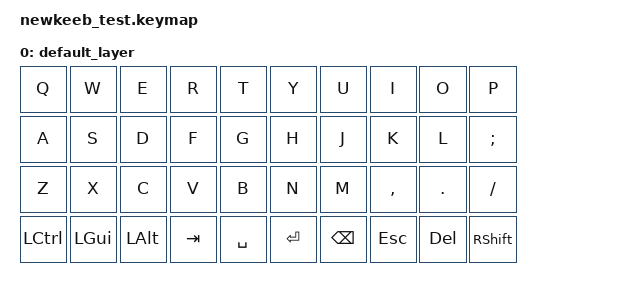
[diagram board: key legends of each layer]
/* DIAGNOSTIC ONLY - minimal keymap so the standalone test builds. */

#include <behaviors.dtsi>
#include <dt-bindings/zmk/keys.h>

/ {
    keymap {
        compatible = "zmk,keymap";

        default_layer {
            bindings = <
   &kp Q      &kp W    &kp E    &kp R    &kp T          &kp Y    &kp U    &kp I     &kp O    &kp P
   &kp A      &kp S    &kp D    &kp F    &kp G          &kp H    &kp J    &kp K     &kp L    &kp SEMI
   &kp Z      &kp X    &kp C    &kp V    &kp B          &kp N    &kp M    &kp COMMA &kp DOT  &kp FSLH
   &kp LCTRL  &kp LGUI &kp LALT &kp TAB  &kp SPACE      &kp RET  &kp BSPC &kp ESC   &kp DEL  &kp RSHFT
            >;
        };
    };
};
